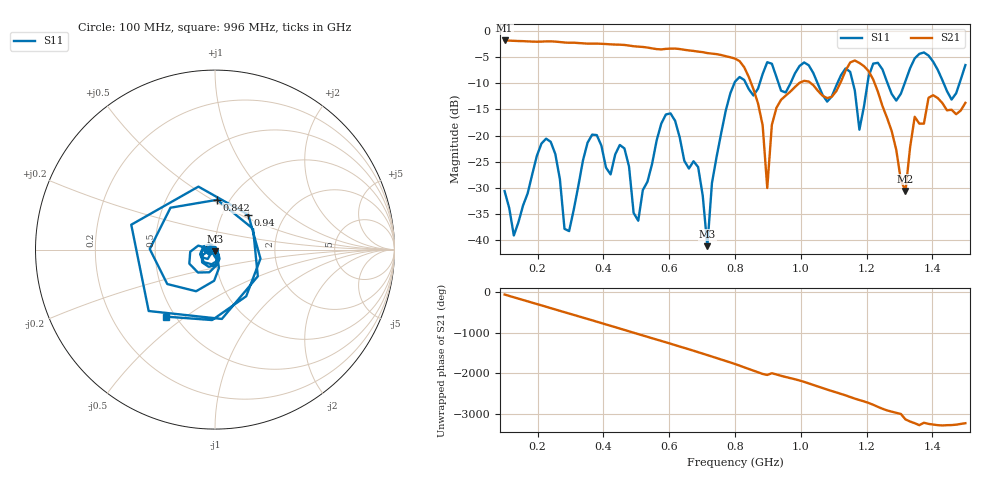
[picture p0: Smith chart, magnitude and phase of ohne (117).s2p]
! NanoVNA-App
! Date: 2025-09-25 14:21:42
! Start: 100MHz Stop: 1,5GHz Points: 101
! S-Parameter data: F S11 S21 S12 S22
# Hz S RI R 50
!  Frequency  S11_Real  S11_Imag  S21_Real  S21_Imag  S12_Real  S12_Imag  S22_Real  S22_Imag
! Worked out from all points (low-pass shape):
!   101 points, 100 MHz to 1.5 GHz, reference 50 ohm
!   highest |S21| = -1.79 dB at 100 MHz (marker M1); lowest = -30.6 dB at 1.318 GHz (marker M2)
!   |S21| within 3 dB of the highest: start of sweep to 771.2 MHz
!   lowest |S11| = -41.2 dB at 716 MHz (marker M3), VSWR 1.02, Z = 49.9 - j0.859 ohm
!   |S11| at or under -10 dB: start of sweep to 798 MHz; 833.1 MHz to 875.1 MHz (41.99 MHz wide, 4.92 % of centre); 1.051 GHz to 1.111 GHz (59.91 MHz wide, 5.54 % of centre) (the widest 3 of 7)
!   S12 and S22 are empty: the file has one direction only
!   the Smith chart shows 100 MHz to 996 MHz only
!   S11 on the Smith chart (normalised r, x): 100 MHz: 0.94, -0.01; 842 MHz: 0.88, +0.53; 940 MHz: 1.32, +0.55; 996 MHz: 0.45, -0.42
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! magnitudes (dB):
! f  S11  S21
! 100 MHz  -30.6  -1.8
! 128 MHz  -39.1  -1.9
! 226 MHz  -20.6  -2.0
! 296 MHz  -38.3  -2.2
! 338 MHz  -24.8  -2.3
! 464 MHz  -22.5  -2.7
! 506 MHz  -36.3  -3.0
! 576 MHz  -17.7  -3.5
! 688 MHz  -26.0  -3.9
! 716 MHz  -41.2  -4.2
! 800 MHz  -9.7  -5.3
! 842 MHz  -11.1  -8.8
! 898 MHz  -6.0  -30.0
! 940 MHz  -11.4  -13.2
! 996 MHz  -6.7  -9.9
! 1.038 GHz  -8.0  -10.4
! 1.178 GHz  -18.9  -6.1
! 1.22 GHz  -6.2  -9.3
! 1.276 GHz  -12.0  -19.1
! 1.318 GHz  -9.6  -30.6
! 1.346 GHz  -5.2  -16.4
! 1.5 GHz  -6.5  -13.7
